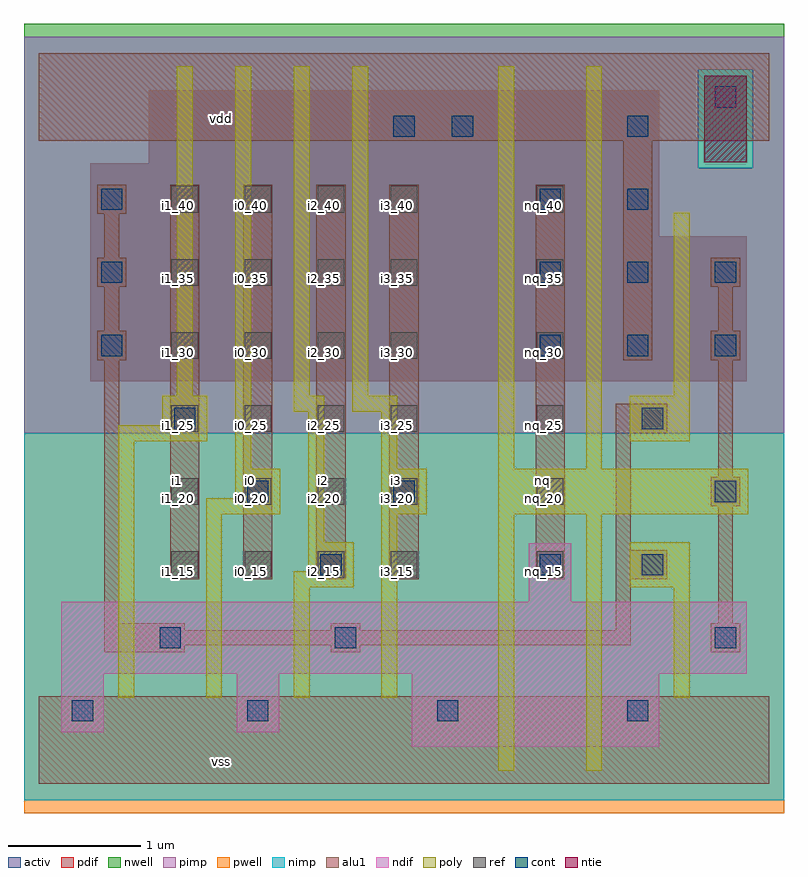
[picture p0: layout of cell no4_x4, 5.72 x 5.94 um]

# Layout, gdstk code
import gdstk
lib = gdstk.Library(unit=1e-6, precision=2.5e-09)
def R(c, l, rs):  # rectangles x0, y0, x1, y1
    for r in rs: c.add(gdstk.rectangle(r[:2], r[2:], *l))
def A(c, l, x, y, w, h, nx, ny, dx, dy):  # array of equal rectangles
    R(c, l, [(x+i*dx, y+j*dy, x+i*dx+w, y+j*dy+h) for i in range(nx) for j in range(ny)])
ndif = (3, 0)
pdif = (4, 0)
ntie = (5, 0)
ref = (24, 0)
cont = (25, 0)
pwell = (41, 0)
nwell = (42, 0)
activ = (43, 0)
pimp = (44, 0)
nimp = (45, 0)
poly = (46, 0)
alu1 = (49, 0)

no4_x4 = lib.new_cell('no4_x4')
R(no4_x4, ndif, [(2.81,0.28,4.67,0.83), (2.81,0.28,4.67,0.83), (0.17,0.39,0.49,0.83), (0.17,0.39,0.49,0.83), (1.49,0.39,1.81,0.83), (1.49,0.39,1.81,0.83), (0.17,0.83,5.33,1.37), (0.17,0.83,5.33,1.37), (3.69,1.37,4.01,1.81), (3.69,1.37,4.01,1.81)])
R(no4_x4, pdif, [(0.39,3.03,5.33,4.12), (0.39,3.03,5.33,4.12), (0.39,4.12,4.67,4.67), (0.39,4.12,4.67,4.67), (0.83,4.67,4.67,5.22), (0.83,4.67,4.67,5.22)])
R(no4_x4, ntie, [(5.01,4.68,5.33,5.33), (5.01,4.68,5.33,5.33)])
A(no4_x4, ref, 1, 1.55, 0.2, 0.2, 4, 6, 0.55, 0.55)
A(no4_x4, ref, 3.75, 1.55, 0.2, 0.2, 1, 6, 0, 0.55)
A(no4_x4, cont, 1.57, 0.47, 0.16, 0.16, 3, 1, 1.43, 0)
A(no4_x4, cont, 0.47, 3.22, 0.16, 0.16, 1, 3, 0, 0.55)
A(no4_x4, cont, 3.77, 3.22, 0.16, 0.16, 3, 2, 0.66, 0.55)
R(no4_x4, cont, [(0.25,0.47,0.41,0.63), (0.91,1.02,1.07,1.18), (2.23,1.02,2.39,1.18), (5.09,1.02,5.25,1.18), (2.12,1.57,2.28,1.73), (3.77,1.57,3.93,1.73), (4.54,1.57,4.7,1.73), (1.57,2.12,1.73,2.28), (2.67,2.12,2.83,2.28), (5.09,2.12,5.25,2.28), (1.02,2.67,1.18,2.83), (4.54,2.67,4.7,2.83), (3.77,4.32,3.93,4.48), (4.43,4.32,4.59,4.48), (2.67,4.87,2.83,5.03), (3.11,4.87,3.27,5.03), (4.43,4.87,4.59,5.03), (5.09,5.09,5.25,5.25)])
R(no4_x4, pwell, [(-0.11,-0.22,5.61,2.64)])
R(no4_x4, nwell, [(-0.11,2.64,5.61,5.72)])
R(no4_x4, activ, [(2.81,0.28,4.67,0.83), (2.81,0.28,4.67,0.83), (0.17,0.39,0.49,0.83), (0.17,0.39,0.49,0.83), (1.49,0.39,1.81,0.83), (1.49,0.39,1.81,0.83), (0.17,0.83,5.33,1.37), (0.17,0.83,5.33,1.37), (3.69,1.37,4.01,1.81), (3.69,1.37,4.01,1.81), (0.39,3.03,5.33,4.12), (0.39,3.03,5.33,4.12), (0.39,4.12,4.67,4.67), (0.39,4.12,4.67,4.67), (0.83,4.67,4.67,5.22), (0.83,4.67,4.67,5.22), (5.01,4.68,5.33,5.33), (5.01,4.68,5.33,5.33)])
R(no4_x4, pimp, [(-0.11,2.64,5.61,4.635), (-0.11,4.635,4.965,5.375), (5.375,4.635,5.61,5.375), (-0.11,5.375,5.61,5.625)])
R(no4_x4, nimp, [(-0.11,-0.125,5.61,2.64), (4.965,4.635,5.375,5.375)])
R(no4_x4, poly, [(3.46,0.1,3.58,2.03), (4.12,0.1,4.24,2.03), (0.6,0.65,0.72,2.58), (1.26,0.65,1.38,2.03), (1.92,0.65,2.04,1.48), (2.58,0.65,2.7,2.03), (4.78,0.65,4.9,1.48), (1.92,1.48,2.37,1.6), (4.45,1.48,4.9,1.82), (2.03,1.6,2.37,1.82), (2.03,1.82,2.15,2.8), (1.26,2.03,1.82,2.15), (2.58,2.03,2.92,2.37), (3.46,2.03,5.34,2.37), (1.48,2.15,1.82,2.37), (1.48,2.37,1.6,5.4), (2.58,2.37,2.7,2.8), (3.46,2.37,3.58,5.4), (4.12,2.37,4.24,5.4), (0.6,2.58,1.27,2.7), (4.45,2.58,4.9,2.92), (0.93,2.7,1.27,2.92), (1.92,2.8,2.15,2.92), (2.36,2.8,2.7,2.92), (1.04,2.92,1.16,5.4), (1.92,2.92,2.04,5.4), (2.36,2.92,2.48,5.4), (4.78,2.92,4.9,4.3)])
A(no4_x4, alu1, 5.06, 0.99, 0.22, 0.22, 1, 3, 0, 1.1)
A(no4_x4, alu1, 0.99, 1.54, 0.22, 2.97, 4, 1, 0.55, 0)
A(no4_x4, alu1, 0.44, 3.19, 0.22, 0.22, 1, 3, 0, 0.55)
R(no4_x4, alu1, [(0,0,5.5,0.66), (0.495,0.99,1.1,1.045), (2.2,0.99,2.42,1.045), (0.495,1.045,4.455,1.155), (0.495,1.155,1.1,1.21), (2.2,1.155,2.42,1.21), (4.345,1.155,4.455,1.54), (0.495,1.21,0.605,3.19), (5.115,1.21,5.225,2.09), (3.74,1.54,3.96,4.51), (4.345,1.54,4.73,1.76), (4.345,1.76,4.455,2.64), (5.115,2.31,5.225,3.19), (4.345,2.64,4.73,2.86), (4.4,3.19,4.62,4.84), (0.495,3.41,0.605,3.74), (5.115,3.41,5.225,3.74), (5.06,3.74,5.28,3.96), (0.495,3.96,0.605,4.29), (0,4.84,5.5,5.5)])
no4_x4.add(gdstk.Label('vss', (1.375,0.165), layer=49, texttype=0))
no4_x4.add(gdstk.Label('nq', (3.795,2.2825), layer=49, texttype=0))
no4_x4.add(gdstk.Label('i3', (2.695,2.2825), layer=49, texttype=0))
no4_x4.add(gdstk.Label('i2', (2.145,2.2825), layer=49, texttype=0))
no4_x4.add(gdstk.Label('i0', (1.595,2.2825), layer=49, texttype=0))
no4_x4.add(gdstk.Label('i1', (1.045,2.2825), layer=49, texttype=0))
no4_x4.add(gdstk.Label('vdd', (1.375,5.005), layer=49, texttype=0))
no4_x4.add(gdstk.Label('nq_30', (3.8,3.25), layer=24, texttype=0))
no4_x4.add(gdstk.Label('nq_25', (3.8,2.7), layer=24, texttype=0))
no4_x4.add(gdstk.Label('nq_20', (3.8,2.15), layer=24, texttype=0))
no4_x4.add(gdstk.Label('nq_15', (3.8,1.6), layer=24, texttype=0))
no4_x4.add(gdstk.Label('nq_40', (3.8,4.35), layer=24, texttype=0))
no4_x4.add(gdstk.Label('nq_35', (3.8,3.8), layer=24, texttype=0))
no4_x4.add(gdstk.Label('i3_15', (2.7,1.6), layer=24, texttype=0))
no4_x4.add(gdstk.Label('i3_20', (2.7,2.15), layer=24, texttype=0))
no4_x4.add(gdstk.Label('i3_25', (2.7,2.7), layer=24, texttype=0))
no4_x4.add(gdstk.Label('i3_30', (2.7,3.25), layer=24, texttype=0))
no4_x4.add(gdstk.Label('i3_35', (2.7,3.8), layer=24, texttype=0))
no4_x4.add(gdstk.Label('i3_40', (2.7,4.35), layer=24, texttype=0))
no4_x4.add(gdstk.Label('i1_40', (1.05,4.35), layer=24, texttype=0))
no4_x4.add(gdstk.Label('i1_35', (1.05,3.8), layer=24, texttype=0))
no4_x4.add(gdstk.Label('i1_30', (1.05,3.25), layer=24, texttype=0))
no4_x4.add(gdstk.Label('i1_25', (1.05,2.7), layer=24, texttype=0))
no4_x4.add(gdstk.Label('i1_20', (1.05,2.15), layer=24, texttype=0))
no4_x4.add(gdstk.Label('i1_15', (1.05,1.6), layer=24, texttype=0))
no4_x4.add(gdstk.Label('i0_15', (1.6,1.6), layer=24, texttype=0))
no4_x4.add(gdstk.Label('i0_20', (1.6,2.15), layer=24, texttype=0))
no4_x4.add(gdstk.Label('i0_25', (1.6,2.7), layer=24, texttype=0))
no4_x4.add(gdstk.Label('i0_30', (1.6,3.25), layer=24, texttype=0))
no4_x4.add(gdstk.Label('i0_35', (1.6,3.8), layer=24, texttype=0))
no4_x4.add(gdstk.Label('i0_40', (1.6,4.35), layer=24, texttype=0))
no4_x4.add(gdstk.Label('i2_15', (2.15,1.6), layer=24, texttype=0))
no4_x4.add(gdstk.Label('i2_20', (2.15,2.15), layer=24, texttype=0))
no4_x4.add(gdstk.Label('i2_25', (2.15,2.7), layer=24, texttype=0))
no4_x4.add(gdstk.Label('i2_30', (2.15,3.25), layer=24, texttype=0))
no4_x4.add(gdstk.Label('i2_35', (2.15,3.8), layer=24, texttype=0))
no4_x4.add(gdstk.Label('i2_40', (2.15,4.35), layer=24, texttype=0))

lib.write_gds('no4_x4.gds')
